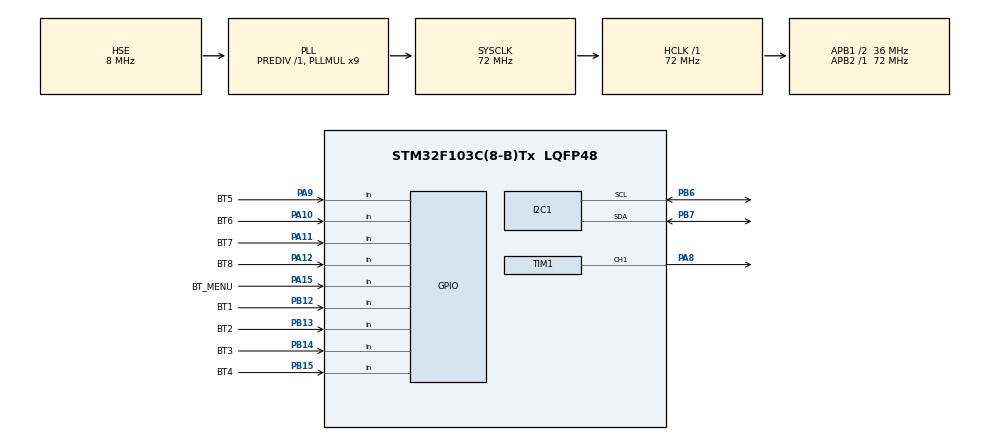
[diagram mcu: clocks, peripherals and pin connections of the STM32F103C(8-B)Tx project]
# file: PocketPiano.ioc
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I2C1.I2C_Mode=I2C_Fast
Mcu.Family=STM32F1
Mcu.Name=STM32F103C(8-B)Tx
Mcu.Package=LQFP48
NVIC.PriorityGroup=NVIC_PRIORITYGROUP_4
PA10.GPIO_Label=BT6
PA10.GPIO_PuPd=GPIO_PULLUP
PA10.Signal=GPIO_Input
PA11.GPIO_Label=BT7
PA11.GPIO_PuPd=GPIO_PULLUP
PA11.Signal=GPIO_Input
PA12.GPIO_Label=BT8
PA12.GPIO_PuPd=GPIO_PULLUP
PA12.Signal=GPIO_Input
PA13.Mode=Serial_Wire
PA13.Signal=SYS_JTMS-SWDIO
PA14.Mode=Serial_Wire
PA14.Signal=SYS_JTCK-SWCLK
PA15.GPIO_Label=BT_MENU
PA15.GPIO_PuPd=GPIO_PULLUP
PA15.Signal=GPIO_Input
PA8.Signal=S_TIM1_CH1
PA9.GPIO_Label=BT5
PA9.GPIO_PuPd=GPIO_PULLUP
PA9.Signal=GPIO_Input
PB12.GPIO_Label=BT1
PB12.GPIO_PuPd=GPIO_PULLUP
PB12.Signal=GPIO_Input
PB13.GPIO_Label=BT2
PB13.GPIO_PuPd=GPIO_PULLUP
PB13.Signal=GPIO_Input
PB14.GPIO_Label=BT3
PB14.GPIO_PuPd=GPIO_PULLUP
PB14.Signal=GPIO_Input
PB15.GPIO_Label=BT4
PB15.GPIO_PuPd=GPIO_PULLUP
PB15.Signal=GPIO_Input
PB6.Mode=I2C
PB6.Signal=I2C1_SCL
PB7.Mode=I2C
PB7.Signal=I2C1_SDA
PC14-OSC32_IN.Mode=LSE-External-Oscillator
PC14-OSC32_IN.Signal=RCC_OSC32_IN
PC15-OSC32_OUT.Mode=LSE-External-Oscillator
PC15-OSC32_OUT.Signal=RCC_OSC32_OUT
PD0-OSC_IN.Mode=HSE-External-Oscillator
PD0-OSC_IN.Signal=RCC_OSC_IN
PD1-OSC_OUT.Mode=HSE-External-Oscillator
PD1-OSC_OUT.Signal=RCC_OSC_OUT
ProjectManager.HeapSize=0x200
ProjectManager.StackSize=0x400
ProjectManager.TargetToolchain=CMake
RCC.AHBFreq_Value=72000000
RCC.APB1CLKDivider=RCC_HCLK_DIV2
RCC.APB1Freq_Value=36000000
RCC.APB1TimFreq_Value=72000000
RCC.APB2Freq_Value=72000000
RCC.APB2TimFreq_Value=72000000
RCC.HCLKFreq_Value=72000000
RCC.PLLMUL=RCC_PLL_MUL9
RCC.PLLSourceVirtual=RCC_PLLSOURCE_HSE
RCC.SYSCLKFreq_VALUE=72000000
RCC.SYSCLKSource=RCC_SYSCLKSOURCE_PLLCLK
RCC.USBFreq_Value=72000000
SH.S_TIM1_CH1.0=TIM1_CH1,PWM Generation1 CH1
TIM1.Channel-PWM\ Generation1\ CH1=TIM_CHANNEL_1
TIM1.Period=1000-1
TIM1.Prescaler=1
TIM1.Pulse-PWM\ Generation1\ CH1=500
VP_TIM1_VS_ClockSourceINT.Mode=Internal
board=custom

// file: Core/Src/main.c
/* USER CODE BEGIN Header */
/**
 ******************************************************************************
 * @file           : main.c
 * @brief          : Main program body
 ******************************************************************************
 * @attention
 *
 * Copyright (c) 2024 STMicroelectronics.
 * All rights reserved.
 *
 * This software is licensed under terms that can be found in the LICENSE file
 * in the root directory of this software component.
 * If no LICENSE file comes with this software, it is provided AS-IS.
 *
 ******************************************************************************
 */
/* USER CODE END Header */
#include "main.h"
#include "gpio.h"
#include "i2c.h"
#include "ssd1306_font.h"
#include "stm32f1xx_hal.h"
#include "tim.h"

/* USER CODE BEGIN Includes */
#include "buzzer.h"
#include "interface.h"
#include "note.h"
#include "ssd1306.h"
#include <stdint.h>

/* USER CODE END Includes */

/* USER CODE BEGIN PV */
uint16_t record_note_sheet[256] = {0};
/* USER CODE END PV */

void SystemClock_Config(void);
/* USER CODE BEGIN PFP */
void Piano_loop(void);
void MusicPlayer_loop(void);
void Record_loop(void);
void RecordPlayer_loop(void);
/* USER CODE END PFP */

int main(void) {

  /* MCU Configuration--------------------------------------------------------*/

  /* Reset of all peripherals, Initializes the Flash interface and the Systick.
   */
  HAL_Init();

  /* Configure the system clock */
  SystemClock_Config();

  /* Initialize all configured peripherals */
  MX_GPIO_Init();
  MX_I2C1_Init();
  MX_TIM1_Init();
  /* USER CODE BEGIN 2 */
  BUZZER_SetLoudness(10); // 设置音量 1~999
  // Solitary_brave();

  ssd1306_init();

  /* USER CODE END 2 */

  /* Infinite loop */
  /* USER CODE BEGIN WHILE */
  while (1) {
    Piano_loop();        // 电子琴模式
    MusicPlayer_loop();  // 音乐模式
    Record_loop();       // 录制模式
    RecordPlayer_loop(); // 播放录制模式
    /* USER CODE END WHILE */

  }
}

void Piano_loop(void) {
  enum button_state_t bt_state_last = kNone; // 记录上一次的按钮状态
  uint32_t button_menu_tick = 0; // 记录上一次的menu按钮按下的时间
  enum note_offset_t note_offset = kOffsetMiddle; // 音符偏移，默认中音

  ssd1306_set_cursor(32, 0);
  ssd1306_write_char_cn(fontCN16x16, 0); // 钢
  ssd1306_write_char_cn(fontCN16x16, 1); // 琴
  ssd1306_write_char_cn(fontCN16x16, 2); // 模
  ssd1306_write_char_cn(fontCN16x16, 3); // 式
  ssd1306_update_screen();

  while (1) {
    enum button_state_t bt_state_now = readPianoPin(); // 读取当前的按钮状态
    switch (bt_state_now) {
    case kMenu:
      if (bt_state_last !=
          bt_state_now) { // 如果上一次没有按下menu按钮，说明这是刚按下menu按钮
        button_menu_tick = HAL_GetTick(); // 重置menu按钮计数器为当前时间
      }
      if (bt_state_last == kMenu && (HAL_GetTick() - button_menu_tick) > 300) {
        // 大于300ms说明是长按
        // 切换界面状态
        BUZZER_PlayNote(M1);
        HAL_Delay(100);
        BUZZER_Stop();
        ssd1306_black_screen();
        ssd1306_update_screen();
        return;
      }
      break; // 菜单按钮逻辑

    case kBT1:
    case kBT2:
    case kBT3:
    case kBT4:
    case kBT5:
    case kBT6:
    case kBT7:
    case kBT8:
      BUZZER_PlayNote(FreTab[bt_state_now + note_offset]);
      ssd1306_set_cursor(32 + 16, 16 + 2);
      ssd1306_write_string(font16x26, FreTabStr[bt_state_now + note_offset]);
      ssd1306_update_screen();
      break; // 钢琴按钮逻辑

    case kNone:
    default:
      if (bt_state_last ==
          kMenu) { // 如果上一个按钮状态是menu，说明松开了menu按钮
        // 切换高低音(低->中->高)
        if (note_offset == kOffsetHigh) {
          note_offset = kOffsetLow;
        } else if (note_offset == kOffsetMiddle) {
          note_offset = kOffsetHigh;
        } else if (note_offset == kOffsetLow) {
          note_offset = kOffsetMiddle;
        }
      }
      if (bt_state_last < 9 && bt_state_last > 0) {
        BUZZER_Stop();
        ssd1306_set_cursor(32 + 16, 16 + 2);
        ssd1306_draw_black(16 * 2, 26); // 清除音符显示部分
        ssd1306_update_screen();
      }
      break; // 其他情况逻辑
    }
    bt_state_last = bt_state_now;
  }
}

void MusicPlayer_loop(void) {
  enum button_state_t bt_state_last = kNone; // 记录上一次的按钮状态
  uint32_t button_menu_tick = 0; // 记录上一次的menu按钮按下的时间
  uint8_t is_music_play = 1;
  struct music_sheet_t *music_note_sheet = &music_solitary_brave;
  uint16_t note_counter = 0;
  // uint32_t note_halt_tick = 0; // 记录上一音符开始休眠的时间

  ssd1306_set_cursor(32, 0);
  ssd1306_write_char_cn(fontCN16x16, 4);  // 音
  ssd1306_write_char_cn(fontCN16x16, 10); // 乐
  ssd1306_write_char_cn(fontCN16x16, 2);  // 模
  ssd1306_write_char_cn(fontCN16x16, 3);  // 式

  ssd1306_set_cursor(0, 48);
  ssd1306_write_char_cn(fontCN16x16, 21); // 播放
  ssd1306_write_char_cn(fontCN16x16, 22);

  ssd1306_set_cursor(40, 16);
  ssd1306_write_char_cn(fontCN16x16, 25); // 孤勇者
  ssd1306_write_char_cn(fontCN16x16, 26);
  ssd1306_write_char_cn(fontCN16x16, 27);
  ssd1306_update_screen();

  while (1) {
    enum button_state_t bt_state_now = readPianoPin(); // 读取当前的按钮状态
    switch (bt_state_now) {
    case kMenu:
      if (bt_state_last !=
          bt_state_now) { // 如果上一次没有按下menu按钮，说明这是刚按下menu按钮
        button_menu_tick = HAL_GetTick(); // 重置menu按钮计数器为当前时间
      }
      if (bt_state_last == kMenu && (HAL_GetTick() - button_menu_tick) > 300) {
        // 大于300ms说明是长按
        // 切换界面状态
        BUZZER_PlayNote(M1);
        HAL_Delay(100);
        BUZZER_Stop();
        ssd1306_black_screen();
        ssd1306_update_screen();
        return;
      }
      break; // 菜单按钮逻辑

    case kBT1:                     // 暂停
      if (bt_state_last != kBT1) { // 说明是刚按下状态
        if (is_music_play) {
          is_music_play = 0;
          BUZZER_Stop();
          ssd1306_set_cursor(0, 48);
          ssd1306_write_char_cn(fontCN16x16, 23); // 暂停
          ssd1306_write_char_cn(fontCN16x16, 24); // 暂停
          ssd1306_update_screen();
        } else {
          is_music_play = 1;
          ssd1306_set_cursor(0, 48);
          ssd1306_write_char_cn(fontCN16x16, 21); // 播放
          ssd1306_write_char_cn(fontCN16x16, 22); // 播放
          ssd1306_update_screen();
        }
      }
      break;

    case kBT2:
    case kBT3:
    case kBT4:
    case kBT5:
    case kBT6:
    case kBT7:
    case kBT8:
    case kNone:
    default:
      if (bt_state_last ==
          kMenu) { // 如果上一个按钮状态是menu，说明松开了menu按钮
        // 切歌
        if (music_note_sheet == &music_solitary_brave) {
          note_counter = 0;
          music_note_sheet = &music_xiaoxingxing;
          ssd1306_set_cursor(40, 16);
          ssd1306_write_char_cn(fontCN16x16, 11); // 小星星
          ssd1306_write_char_cn(fontCN16x16, 12);
          ssd1306_write_char_cn(fontCN16x16, 12);
          ssd1306_update_screen();
        } else {
          note_counter = 0;
          music_note_sheet = &music_solitary_brave;
          ssd1306_set_cursor(40, 16);
          ssd1306_write_char_cn(fontCN16x16, 25); // 孤勇者
          ssd1306_write_char_cn(fontCN16x16, 26);
          ssd1306_write_char_cn(fontCN16x16, 27);
          ssd1306_update_screen();
        }
        break;
      }

      if (is_music_play) {
        if (note_counter >
            music_note_sheet->length - 1) { // 如果超出乐谱长度，从头开始演奏
          note_counter = 0;
        }
        BUZZER_PlayNote(music_note_sheet->note_sheet[note_counter * 2]);
        HAL_Delay(5 * music_note_sheet->note_sheet[note_counter * 2 + 1]);
        note_counter++;
      }

      break; // 其他情况逻辑
    }
    bt_state_last = bt_state_now;
  }
}

void Record_loop(void) {
  enum button_state_t bt_state_last = kNone; // 记录上一次的按钮状态
  uint32_t button_menu_tick = 0; // 记录上一次的menu按钮按下的时间
  uint32_t button_buzzer_tick = 0; // 记录上一次的menu按钮按下的时间
  enum note_offset_t note_offset = kOffsetMiddle; // 音符偏移，默认中音
  uint16_t record_note_counter = 0;

  ssd1306_set_cursor(32, 0);
  ssd1306_write_char_cn(fontCN16x16, 13); // 录制模式
  ssd1306_write_char_cn(fontCN16x16, 14);
  ssd1306_write_char_cn(fontCN16x16, 2);
  ssd1306_write_char_cn(fontCN16x16, 3);
  ssd1306_update_screen();

  while (1) {
    enum button_state_t bt_state_now = readPianoPin(); // 读取当前的按钮状态
    switch (bt_state_now) {
    case kMenu:
      if (bt_state_last !=
          bt_state_now) { // 如果上一次没有按下menu按钮，说明这是刚按下menu按钮
        button_menu_tick = HAL_GetTick(); // 重置menu按钮计数器为当前时间
      }
      if (bt_state_last == kMenu && (HAL_GetTick() - button_menu_tick) > 300) {
        // 大于300ms说明是长按
        // 切换界面状态
        BUZZER_PlayNote(M1);
        HAL_Delay(100);
        BUZZER_Stop();
        ssd1306_black_screen();
        ssd1306_update_screen();
        return;
      }
      break; // 菜单按钮逻辑

    case kBT1:
    case kBT2:
    case kBT3:
    case kBT4:
    case kBT5:
    case kBT6:
    case kBT7:
    case kBT8:
      BUZZER_PlayNote(FreTab[bt_state_now + note_offset]);
      button_buzzer_tick = HAL_GetTick();
      record_note_sheet[record_note_counter * 2] =
          FreTab[bt_state_now + note_offset];

      ssd1306_set_cursor(32 + 16, 16 + 2);
      ssd1306_write_string(font16x26, FreTabStr[bt_state_now + note_offset]);
      ssd1306_update_screen();
      break; // 钢琴按钮逻辑

    case kNone:
    default:
      if (bt_state_last ==
          kMenu) { // 如果上一个按钮状态是menu，说明松开了menu按钮
        // 切换高低音(低->中->高)
        if (note_offset == kOffsetHigh) {
          note_offset = kOffsetLow;
        } else if (note_offset == kOffsetMiddle) {
          note_offset = kOffsetHigh;
        } else if (note_offset == kOffsetLow) {
          note_offset = kOffsetMiddle;
        }
      }
      if (bt_state_last < 9 && bt_state_last > 0) {
        BUZZER_Stop();
        record_note_sheet[record_note_counter * 2 + 1] =
            HAL_GetTick() - button_buzzer_tick;
        record_note_counter++;
        ssd1306_set_cursor(32 + 16, 16 + 2);
        ssd1306_draw_black(16 * 2, 26); // 清除音符显示部分
        ssd1306_update_screen();
      }
      break; // 其他情况逻辑
    }
    bt_state_last = bt_state_now;
  }
}

void RecordPlayer_loop(void) {
  if (record_note_sheet[0] == 0) { // 如果没有录制歌曲则退出
    return;
  }
  enum button_state_t bt_state_last = kNone; // 记录上一次的按钮状态
  uint32_t button_menu_tick = 0; // 记录上一次的menu按钮按下的时间
  uint8_t is_music_play = 1;
  uint16_t note_counter = 0;

  ssd1306_set_cursor(16, 0);
  ssd1306_write_char_cn(fontCN16x16, 13); // 录制播放模式
  ssd1306_write_char_cn(fontCN16x16, 14);
  ssd1306_write_char_cn(fontCN16x16, 21);
  ssd1306_write_char_cn(fontCN16x16, 22);
  ssd1306_write_char_cn(fontCN16x16, 2);
  ssd1306_write_char_cn(fontCN16x16, 3);

  ssd1306_set_cursor(0, 48);
  ssd1306_write_char_cn(fontCN16x16, 21); // 播放
  ssd1306_write_char_cn(fontCN16x16, 22);
  ssd1306_update_screen();

  while (1) {
    enum button_state_t bt_state_now = readPianoPin(); // 读取当前的按钮状态
    switch (bt_state_now) {
    case kMenu:
      if (bt_state_last !=
          bt_state_now) { // 如果上一次没有按下menu按钮，说明这是刚按下menu按钮
        button_menu_tick = HAL_GetTick(); // 重置menu按钮计数器为当前时间
      }
      if (bt_state_last == kMenu && (HAL_GetTick() - button_menu_tick) > 300) {
        // 大于300ms说明是长按
        // 切换界面状态
        BUZZER_PlayNote(M1);
        HAL_Delay(100);
        BUZZER_Stop();
        ssd1306_black_screen();
        ssd1306_update_screen();
        return;
      }
      break; // 菜单按钮逻辑

    case kBT1:                     // 暂停
      if (bt_state_last != kBT1) { // 说明是刚按下状态
        if (is_music_play) {
          is_music_play = 0;
          BUZZER_Stop();
          ssd1306_set_cursor(0, 48);
          ssd1306_write_char_cn(fontCN16x16, 23); // 暂停
          ssd1306_write_char_cn(fontCN16x16, 24);
          ssd1306_update_screen();
        } else {
          is_music_play = 1;
          ssd1306_set_cursor(0, 48);
          ssd1306_write_char_cn(fontCN16x16, 21); // 播放
          ssd1306_write_char_cn(fontCN16x16, 22);
          ssd1306_update_screen();
        }
      }
      break;

    case kBT2:
    case kBT3:
    case kBT4:
    case kBT5:
    case kBT6:
    case kBT7:
    case kBT8:
    case kNone:
    default:
      if (bt_state_last ==
          kMenu) { // 如果上一个按钮状态是menu，说明松开了menu按钮
        // 切歌
        break;
      }

      if (is_music_play) {
        if (note_counter > 127) { // 如果超出乐谱长度，从头开始演奏
          note_counter = 0;
        }
        BUZZER_PlayNote(record_note_sheet[note_counter * 2]);
        HAL_Delay(10 * record_note_sheet[note_counter * 2 + 1]);
        BUZZER_Stop();
        HAL_Delay(10);
        note_counter++;
      }

      break; // 其他情况逻辑
    }
    bt_state_last = bt_state_now;
  }
}

void SystemClock_Config(void) {
  RCC_OscInitTypeDef RCC_OscInitStruct = {0};
  RCC_ClkInitTypeDef RCC_ClkInitStruct = {0};

  /** Initializes the RCC Oscillators according to the specified parameters
   * in the RCC_OscInitTypeDef structure.
   */
  RCC_OscInitStruct.OscillatorType = RCC_OSCILLATORTYPE_HSE;
  RCC_OscInitStruct.HSEState = RCC_HSE_ON;
  RCC_OscInitStruct.HSEPredivValue = RCC_HSE_PREDIV_DIV1;
  RCC_OscInitStruct.HSIState = RCC_HSI_ON;
  RCC_OscInitStruct.PLL.PLLState = RCC_PLL_ON;
  RCC_OscInitStruct.PLL.PLLSource = RCC_PLLSOURCE_HSE;
  RCC_OscInitStruct.PLL.PLLMUL = RCC_PLL_MUL9;
  if (HAL_RCC_OscConfig(&RCC_OscInitStruct) != HAL_OK) {
    Error_Handler();
  }

  /** Initializes the CPU, AHB and APB buses clocks
   */
  RCC_ClkInitStruct.ClockType = RCC_CLOCKTYPE_HCLK | RCC_CLOCKTYPE_SYSCLK |
                                RCC_CLOCKTYPE_PCLK1 | RCC_CLOCKTYPE_PCLK2;
  RCC_ClkInitStruct.SYSCLKSource = RCC_SYSCLKSOURCE_PLLCLK;
  RCC_ClkInitStruct.AHBCLKDivider = RCC_SYSCLK_DIV1;
  RCC_ClkInitStruct.APB1CLKDivider = RCC_HCLK_DIV2;
  RCC_ClkInitStruct.APB2CLKDivider = RCC_HCLK_DIV1;

  if (HAL_RCC_ClockConfig(&RCC_ClkInitStruct, FLASH_LATENCY_2) != HAL_OK) {
    Error_Handler();
  }
}

void Error_Handler(void) {
  __disable_irq();
  while (1) {
  }
}

#ifdef USE_FULL_ASSERT
/**
 * @brief  Reports the name of the source file and the source line number
 *         where the assert_param error has occurred.
 * @param  file: pointer to the source file name
 * @param  line: assert_param error line source number
 * @retval None
 */
void assert_failed(uint8_t *file, uint32_t line) {
  /* USER CODE BEGIN 6 */
  /* User can add his own implementation to report the file name and line
     number, ex: printf("Wrong parameters value: file %s on line %d\r\n", file,
     line) */
  /* USER CODE END 6 */
}
#endif /* USE_FULL_ASSERT */
